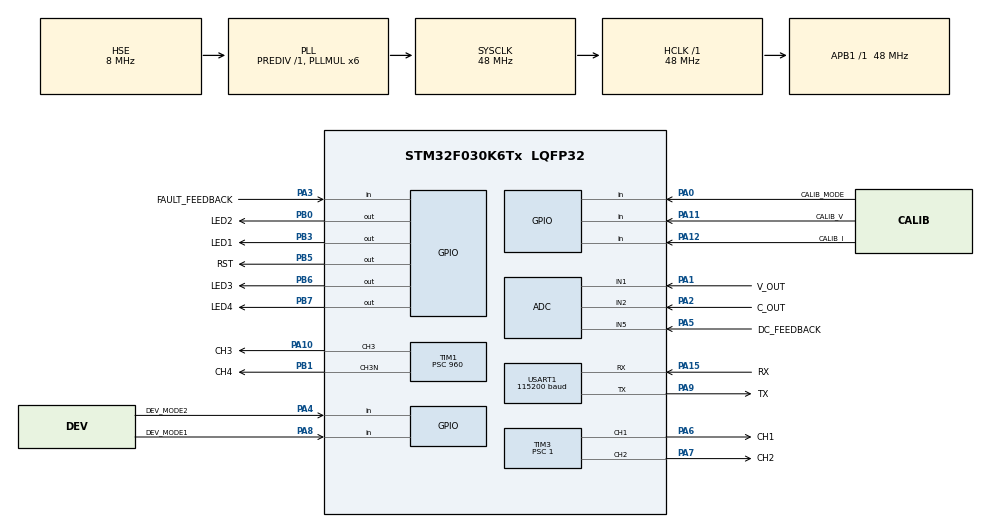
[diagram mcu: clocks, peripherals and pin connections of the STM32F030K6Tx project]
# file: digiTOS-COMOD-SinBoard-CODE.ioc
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ADC.ContinuousConvMode=ENABLE
ADC.DMAContinuousRequests=ENABLE
Dma.ADC.0.Direction=DMA_PERIPH_TO_MEMORY
Dma.ADC.0.Instance=DMA1_Channel2
Dma.ADC.0.MemDataAlignment=DMA_MDATAALIGN_HALFWORD
Dma.ADC.0.MemInc=DMA_MINC_ENABLE
Dma.ADC.0.Mode=DMA_CIRCULAR
Dma.ADC.0.PeriphDataAlignment=DMA_PDATAALIGN_HALFWORD
Dma.ADC.0.PeriphInc=DMA_PINC_DISABLE
Dma.ADC.0.Priority=DMA_PRIORITY_MEDIUM
Dma.Request0=ADC
Dma.Request1=USART1_RX
Dma.Request2=USART1_TX
Dma.USART1_RX.1.Direction=DMA_PERIPH_TO_MEMORY
Dma.USART1_RX.1.Instance=DMA1_Channel3
Dma.USART1_RX.1.MemDataAlignment=DMA_MDATAALIGN_BYTE
Dma.USART1_RX.1.MemInc=DMA_MINC_ENABLE
Dma.USART1_RX.1.Mode=DMA_NORMAL
Dma.USART1_RX.1.PeriphDataAlignment=DMA_PDATAALIGN_BYTE
Dma.USART1_RX.1.PeriphInc=DMA_PINC_DISABLE
Dma.USART1_RX.1.Priority=DMA_PRIORITY_LOW
Dma.USART1_TX.2.Direction=DMA_MEMORY_TO_PERIPH
Dma.USART1_TX.2.Instance=DMA1_Channel4
Dma.USART1_TX.2.MemDataAlignment=DMA_MDATAALIGN_BYTE
Dma.USART1_TX.2.MemInc=DMA_MINC_ENABLE
Dma.USART1_TX.2.Mode=DMA_NORMAL
Dma.USART1_TX.2.PeriphDataAlignment=DMA_PDATAALIGN_BYTE
Dma.USART1_TX.2.PeriphInc=DMA_PINC_DISABLE
Dma.USART1_TX.2.Priority=DMA_PRIORITY_LOW
IWDG.Prescaler=IWDG_PRESCALER_256
IWDG.Reload=4095
Mcu.Family=STM32F0
Mcu.Name=STM32F030K6Tx
Mcu.Package=LQFP32
NVIC.DMA1_Channel2_3_IRQn=true\:0\:0\:false\:true\:true\:2\:false
NVIC.DMA1_Channel4_5_IRQn=true\:0\:0\:false\:false\:true\:false
NVIC.FLASH_IRQn=true\:0\:0\:false\:true\:true\:4\:true
NVIC.RCC_IRQn=true\:0\:0\:false\:true\:true\:3\:true
NVIC.TIM14_IRQn=true\:0\:0\:true\:false\:true\:true
NVIC.TIM16_IRQn=true\:0\:0\:false\:false\:true\:true
NVIC.TIM1_BRK_UP_TRG_COM_IRQn=true\:0\:0\:false\:false\:true\:true
NVIC.TIM3_IRQn=true\:0\:0\:false\:false\:true\:true
NVIC.USART1_IRQn=true\:0\:0\:false\:false\:true\:true
PA0.GPIO_Label=CALIB_MODE
PA0.Signal=GPIO_Input
PA1.GPIO_Label=V_OUT
PA1.Mode=IN1
PA1.Signal=ADC_IN1
PA10.GPIO_FMA10=SYSCFG_CFGR1_I2C_FMP_PA10
PA10.GPIO_Label=CH3
PA10.GPIO_Speed=GPIO_SPEED_FREQ_HIGH
PA10.Signal=S_TIM1_CH3
PA11.GPIO_Label=CALIB_V
PA11.Signal=GPIO_Input
PA12.GPIO_Label=CALIB_I
PA12.Signal=GPIO_Input
PA13.Mode=Serial_Wire
PA13.Signal=SYS_SWDIO
PA14.Mode=Serial_Wire
PA14.Signal=SYS_SWCLK
PA15.GPIO_Label=RX
PA15.Mode=Asynchronous
PA15.Signal=USART1_RX
PA2.GPIO_Label=C_OUT
PA2.Mode=IN2
PA2.Signal=ADC_IN2
PA3.GPIO_Label=FAULT_FEEDBACK
PA3.Signal=GPIO_Input
PA4.GPIO_Label=DEV_MODE2
PA4.Signal=GPIO_Input
PA5.GPIO_Label=DC_FEEDBACK
PA5.Mode=IN5
PA5.Signal=ADC_IN5
PA6.GPIO_Label=CH1
PA6.GPIO_Speed=GPIO_SPEED_FREQ_HIGH
PA6.Signal=S_TIM3_CH1
PA7.GPIO_Label=CH2
PA7.GPIO_Speed=GPIO_SPEED_FREQ_HIGH
PA7.Signal=S_TIM3_CH2
PA8.GPIO_Label=DEV_MODE1
PA8.Signal=GPIO_Input
PA9.GPIO_Label=TX
PA9.Mode=Asynchronous
PA9.Signal=USART1_TX
PB0.GPIO_Label=LED2
PB0.GPIO_Speed=GPIO_SPEED_FREQ_HIGH
PB0.PinState=GPIO_PIN_SET
PB0.Signal=GPIO_Output
PB1.GPIO_Label=CH4
PB1.GPIO_Speed=GPIO_SPEED_FREQ_HIGH
PB1.Mode=Output Compare3 CH3 CH3N
PB1.Signal=TIM1_CH3N
PB3.GPIO_Label=LED1
PB3.GPIO_Speed=GPIO_SPEED_FREQ_HIGH
PB3.PinState=GPIO_PIN_SET
PB3.Signal=GPIO_Output
PB5.GPIO_Label=RST
PB5.GPIO_Speed=GPIO_SPEED_FREQ_HIGH
PB5.PinState=GPIO_PIN_SET
PB5.Signal=GPIO_Output
PB6.GPIO_FM6=SYSCFG_CFGR1_I2C_FMP_PB6
PB6.GPIO_Label=LED3
PB6.GPIO_Speed=GPIO_SPEED_FREQ_HIGH
PB6.PinState=GPIO_PIN_SET
PB6.Signal=GPIO_Output
PB7.GPIO_FM7=SYSCFG_CFGR1_I2C_FMP_PB7
PB7.GPIO_Label=LED4
PB7.GPIO_Speed=GPIO_SPEED_FREQ_HIGH
PB7.PinState=GPIO_PIN_SET
PB7.Signal=GPIO_Output
PF0-OSC_IN.GPIO_Label=PF0
PF0-OSC_IN.Mode=HSE-External-Oscillator
PF0-OSC_IN.Signal=RCC_OSC_IN
PF1-OSC_OUT.GPIO_Label=PF1
PF1-OSC_OUT.Mode=HSE-External-Oscillator
PF1-OSC_OUT.Signal=RCC_OSC_OUT
ProjectManager.HeapSize=0x200
ProjectManager.StackSize=0x400
ProjectManager.TargetToolchain=TrueSTUDIO
RCC.AHBFreq_Value=48000000
RCC.APB1Freq_Value=48000000
RCC.APB1TimFreq_Value=48000000
RCC.HCLKFreq_Value=48000000
RCC.PLLMUL=RCC_PLL_MUL6
RCC.PLLSourceVirtual=RCC_PLLSOURCE_HSE
RCC.SYSCLKFreq_VALUE=48000000
RCC.SYSCLKSource=RCC_SYSCLKSOURCE_PLLCLK
SH.S_TIM1_CH3.0=TIM1_CH3,Output Compare3 CH3 CH3N
SH.S_TIM3_CH1.0=TIM3_CH1,PWM Generation1 CH1
SH.S_TIM3_CH2.0=TIM3_CH2,PWM Generation2 CH2
TIM1.AutoReloadPreload=TIM_AUTORELOAD_PRELOAD_ENABLE
TIM1.Channel-Output\ Compare3\ CH3\ CH3N=TIM_CHANNEL_3
TIM1.Period=1000
TIM1.Prescaler=960
TIM1.TIM_MasterOutputTrigger=TIM_TRGO_RESET
TIM1.TIM_MasterSlaveMode=TIM_MASTERSLAVEMODE_DISABLE
TIM14.AutoReloadPreload=TIM_AUTORELOAD_PRELOAD_ENABLE
TIM14.Period=1000
TIM14.Prescaler=1
TIM16.AutoReloadPreload=TIM_AUTORELOAD_PRELOAD_ENABLE
TIM16.Period=1000
TIM16.Prescaler=47999
TIM3.AutoReloadPreload=TIM_AUTORELOAD_PRELOAD_ENABLE
TIM3.Channel-PWM\ Generation1\ CH1=TIM_CHANNEL_1
TIM3.Channel-PWM\ Generation2\ CH2=TIM_CHANNEL_2
TIM3.Period=1000
TIM3.Prescaler=1
USART1.BaudRate=115200
USART1.VirtualMode-Asynchronous=VM_ASYNC
VP_ADC_TempSens_Input.Mode=IN-TempSens
VP_CRC_VS_CRC.Mode=CRC_Activate
VP_IWDG_VS_IWDG.Mode=IWDG_Activate
VP_TIM14_VS_ClockSourceINT.Mode=Enable_Timer
VP_TIM16_VS_ClockSourceINT.Mode=Enable_Timer
VP_TIM1_VS_ClockSourceINT.Mode=Internal
VP_TIM3_VS_ClockSourceINT.Mode=Internal
board=custom

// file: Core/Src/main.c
/* USER CODE BEGIN Header */
/**
  ******************************************************************************
  * @file           : main.c
  * @brief          : Main program body
  ******************************************************************************
  ** This notice applies to any and all portions of this file
  * that are not between comment pairs USER CODE BEGIN and
  * USER CODE END. Other portions of this file, whether
  * inserted by the user or by software development tools
  * are owned by their respective copyright owners.
  *
  * COPYRIGHT(c) 2018 STMicroelectronics
  *
  * Redistribution and use in source and binary forms, with or without modification,
  * are permitted provided that the following conditions are met:
  *   1. Redistributions of source code must retain the above copyright notice,
  *      this list of conditions and the following disclaimer.
  *   2. Redistributions in binary form must reproduce the above copyright notice,
  *      this list of conditions and the following disclaimer in the documentation
  *      and/or other materials provided with the distribution.
  *   3. Neither the name of STMicroelectronics nor the names of its contributors
  *      may be used to endorse or promote products derived from this software
  *      without specific prior written permission.
  *
  * THIS SOFTWARE IS PROVIDED BY THE COPYRIGHT HOLDERS AND CONTRIBUTORS "AS IS"
  * AND ANY EXPRESS OR IMPLIED WARRANTIES, INCLUDING, BUT NOT LIMITED TO, THE
  * IMPLIED WARRANTIES OF MERCHANTABILITY AND FITNESS FOR A PARTICULAR PURPOSE ARE
  * DISCLAIMED. IN NO EVENT SHALL THE COPYRIGHT HOLDER OR CONTRIBUTORS BE LIABLE
  * FOR ANY DIRECT, INDIRECT, INCIDENTAL, SPECIAL, EXEMPLARY, OR CONSEQUENTIAL
  * DAMAGES (INCLUDING, BUT NOT LIMITED TO, PROCUREMENT OF SUBSTITUTE GOODS OR
  * SERVICES; LOSS OF USE, DATA, OR PROFITS; OR BUSINESS INTERRUPTION) HOWEVER
  * CAUSED AND ON ANY THEORY OF LIABILITY, WHETHER IN CONTRACT, STRICT LIABILITY,
  * OR TORT (INCLUDING NEGLIGENCE OR OTHERWISE) ARISING IN ANY WAY OUT OF THE USE
  * OF THIS SOFTWARE, EVEN IF ADVISED OF THE POSSIBILITY OF SUCH DAMAGE.
  *
  ******************************************************************************
  */
/* USER CODE END Header */

#include "main.h"
#include "adc.h"
#include "crc.h"
#include "dma.h"
#include "iwdg.h"
#include "tim.h"
#include "usart.h"
#include "gpio.h"

/* USER CODE BEGIN Includes */

#include "digiTOS-Lib/digiTOS-Generator.h"
#include "digiTOS-Lib/digiTOS-Core.h"
#include "digiTOS-Lib/digiTOS-Sinus.h"
#include "digiTOS-Lib/digiTOS-ADC.h"
#include <stdio.h>
#include <string.h>

/* USER CODE END Includes */

void SystemClock_Config(void);
static void MX_NVIC_Init(void);

int main(void)
{
  /* USER CODE BEGIN 1 */

		__HAL_RCC_DBGMCU_CLK_ENABLE();
	    DBGMCU->APB1FZ |= DBGMCU_APB1_FZ_DBG_WWDG_STOP;
	    DBGMCU->APB2FZ = 0xFFFFFFFF;
	    DBGMCU->APB1FZ = 0xFFFFFFFF;
	    DBGMCU->CR |=DBGMCU_CR_DBG_STOP;
	    __HAL_DBGMCU_FREEZE_IWDG();

  /* USER CODE END 1 */

  /* MCU Configuration--------------------------------------------------------*/

  /* Reset of all peripherals, Initializes the Flash interface and the Systick. */
  HAL_Init();

  /* Configure the system clock */
  SystemClock_Config();

  /* Initialize all configured peripherals */
  MX_GPIO_Init();
  MX_DMA_Init();
  MX_CRC_Init();
  MX_ADC_Init();
  MX_IWDG_Init();
  MX_TIM1_Init();
  MX_TIM14_Init();
  MX_USART1_UART_Init();
  MX_TIM3_Init();
  MX_TIM16_Init();

  /* Initialize interrupts */
  MX_NVIC_Init();
  /* USER CODE BEGIN 2 */

  // NEW IWDG
  DigiTOS_IWDG_Init(DigiTOS_IWDG_Timeout_16s);
  ResetWDG();

  //Init ADC, start DMA
  //and prepare all data
  StartADC();

  SinWave=swNOP;

  // Start generator and then stop to setup default GND level for transistor and dead times
  PWM_50Hz_Init();
  PWM_50Hz_ON();
  PWM_50Hz_OFF();

  PWM_Sinus_Init();
  PWM_Sinus_ON();
  PWM_Sinus_OFF();

  ResetWDG();

  HAL_GPIO_WritePin(LED1_GPIO_Port, LED1_Pin,GPIO_PIN_SET);
  HAL_GPIO_WritePin(LED2_GPIO_Port, LED2_Pin,GPIO_PIN_SET);
  HAL_GPIO_WritePin(LED3_GPIO_Port, LED3_Pin,GPIO_PIN_SET);
  HAL_GPIO_WritePin(LED4_GPIO_Port, LED4_Pin,GPIO_PIN_SET);

  HAL_TIM_Base_Start(&htim16);
  HAL_TIM_Base_Start_IT(&htim16);

  BoardStatus=sBoot;
  TIM16->ARR=sBoot_Delay;

  /* USER CODE END 2 */

  /* Infinite loop */
  /* USER CODE BEGIN WHILE */
  ResetWDG();

  buttonInit(&CALIB_V, CALIBV_GPIO_Port, CALIBV_Pin, GPIO_PIN_RESET, 4000, 10000);
  buttonInit(&CALIB_I, CALIBI_GPIO_Port, CALIBI_Pin, GPIO_PIN_RESET, 4000, 10000);
  buttonInit(&CALIB_MODE, CALIBMODE_GPIO_Port, CALIBMODE_Pin, GPIO_PIN_RESET, 30, 2000);

  buttonInit(&DevModeKey, DEV_MODE1_GPIO_Port, DEV_MODE1_Pin, GPIO_PIN_RESET, 30, 2000);
  buttonInit(&DevModeKey2, DEV_MODE2_GPIO_Port, DEV_MODE2_Pin, GPIO_PIN_RESET, 30, 1000);
  buttonInit(&FaultFlag, FAULT_FEEDBACK_GPIO_Port, FAULT_FEEDBACK_Pin, GPIO_PIN_RESET, 30, 1000);
  buttonUpdate(&DevModeKey);
  buttonUpdate(&DevModeKey2);
  buttonUpdate(&FaultFlag);
  buttonUpdate(&CALIB_V);
  buttonUpdate(&CALIB_I);
  buttonUpdate(&CALIB_MODE);

  HAL_Delay(500);

  // Init EEPROM and read data
             if (InitEEPROM()==0) {
           	  strcpy(uart_buff,"NO EEPROM\r\n");
           	  USE_DEF_CALIB();
           	  //EEPROM_DATA[0]=250;
           	  //StoreEEPROM(132,3636);
           	  SerialPrintln(1);
             } else {
          	  USE_NEW_CALIB();
           	  strcpy(uart_buff,"OK EEPROM\r\n");
           	  SerialPrintln(1);
             }

  Get_Version();
  SerialPrintln(1);

  Get_ChipID();
  SerialPrintln(1);

  Get_FlashSize();
  SerialPrintln(1);

  ClearUART_Buff();

  // Check for Calib Mode
  if(buttonUpdate(&CALIB_MODE) == isPressed){
	  strcpy(uart_buff,"CALIB MODE ENABLED\r\n");
	  SerialPrintln(1);
	  CalibMode=1;
  } else {
	  CalibMode=0;
  }

  buttonUpdate(&FaultFlag);
  if(buttonUpdate(&DevModeKey) == isPressed){
	strcpy(uart_buff,"DEV MODE - wait\r\n");
	SerialPrintln(1);
	ResetWDG();
    HAL_Delay(500);
	//if(buttonUpdate(&DevModeKey) == isPressedLong){
	if(buttonUpdate(&DevModeKey) == isPressed){
		//HAL_TIM_Base_Start_IT(&htim16);
		strcpy(uart_buff,"DEV MODE - confirmed\r\n");
	    SerialPrintln(1);
		DevMode1=1;
	}
  }

    strcpy(uart_buff,"Start Loop\r\n");
    SerialPrintln(1);

  	BoardStatus=sGEN;
  	TIM16->ARR=sDEF_Delay;

    //Start loop
      HAL_GPIO_WritePin(LED1_GPIO_Port, LED1_Pin,GPIO_PIN_RESET);
      HAL_GPIO_WritePin(LED2_GPIO_Port, LED2_Pin,GPIO_PIN_RESET);
      HAL_GPIO_WritePin(LED3_GPIO_Port, LED3_Pin,GPIO_PIN_RESET);
      HAL_GPIO_WritePin(LED4_GPIO_Port, LED4_Pin,GPIO_PIN_RESET);

      // Start PWM Sinus
      //SinWave=swStart;

       buttonUpdate(&FaultFlag);
       buttonUpdate(&DevModeKey2);
       HAL_Delay(500);
       if(buttonUpdate(&DevModeKey2) == isPressedLong){
    	   strcpy(uart_buff,"Start GENERATOR\r\n");
    	   SerialPrintln(1);
    	   //PWM_50Hz_ON();
    	   //PWM_Sinus_ON();
       }

       buttonUpdate(&FaultFlag);
       TIM14->PSC=SinResPSC;

       HAL_TIM_Base_Start(&htim14);
       HAL_TIM_Base_Start_IT(&htim14);

    while (1)
    {
    /* USER CODE END WHILE */

    /* USER CODE BEGIN 3 */
		if (UpdateAmp_FLAG==1) {
			UpdateAmp_FLAG=2;//busy Flag
			UpdateAmplitudeByV();
			UpdateAmp_FLAG=0; // clear Flag
		}
    }
  /* USER CODE END 3 */
}

void SystemClock_Config(void)
{
  RCC_OscInitTypeDef RCC_OscInitStruct = {0};
  RCC_ClkInitTypeDef RCC_ClkInitStruct = {0};
  RCC_PeriphCLKInitTypeDef PeriphClkInit = {0};

  /**Initializes the CPU, AHB and APB busses clocks
  */
  RCC_OscInitStruct.OscillatorType = RCC_OSCILLATORTYPE_HSI14|RCC_OSCILLATORTYPE_LSI
                              |RCC_OSCILLATORTYPE_HSE;
  RCC_OscInitStruct.HSEState = RCC_HSE_ON;
  RCC_OscInitStruct.HSI14State = RCC_HSI14_ON;
  RCC_OscInitStruct.HSI14CalibrationValue = 16;
  RCC_OscInitStruct.LSIState = RCC_LSI_ON;
  RCC_OscInitStruct.PLL.PLLState = RCC_PLL_ON;
  RCC_OscInitStruct.PLL.PLLSource = RCC_PLLSOURCE_HSE;
  RCC_OscInitStruct.PLL.PLLMUL = RCC_PLL_MUL6;
  RCC_OscInitStruct.PLL.PREDIV = RCC_PREDIV_DIV1;
  if (HAL_RCC_OscConfig(&RCC_OscInitStruct) != HAL_OK)
  {
    Error_Handler();
  }
  /**Initializes the CPU, AHB and APB busses clocks
  */
  RCC_ClkInitStruct.ClockType = RCC_CLOCKTYPE_HCLK|RCC_CLOCKTYPE_SYSCLK
                              |RCC_CLOCKTYPE_PCLK1;
  RCC_ClkInitStruct.SYSCLKSource = RCC_SYSCLKSOURCE_PLLCLK;
  RCC_ClkInitStruct.AHBCLKDivider = RCC_SYSCLK_DIV1;
  RCC_ClkInitStruct.APB1CLKDivider = RCC_HCLK_DIV1;

  if (HAL_RCC_ClockConfig(&RCC_ClkInitStruct, FLASH_LATENCY_1) != HAL_OK)
  {
    Error_Handler();
  }
  PeriphClkInit.PeriphClockSelection = RCC_PERIPHCLK_USART1;
  PeriphClkInit.Usart1ClockSelection = RCC_USART1CLKSOURCE_PCLK1;
  if (HAL_RCCEx_PeriphCLKConfig(&PeriphClkInit) != HAL_OK)
  {
    Error_Handler();
  }
}

/**
  * @brief NVIC Configuration.
  * @retval None
  */
static void MX_NVIC_Init(void)
{
  /* DMA1_Channel2_3_IRQn interrupt configuration */
  HAL_NVIC_SetPriority(DMA1_Channel2_3_IRQn, 0, 0);
  HAL_NVIC_EnableIRQ(DMA1_Channel2_3_IRQn);
  /* RCC_IRQn interrupt configuration */
  HAL_NVIC_SetPriority(RCC_IRQn, 0, 0);
  HAL_NVIC_EnableIRQ(RCC_IRQn);
  /* FLASH_IRQn interrupt configuration */
  HAL_NVIC_SetPriority(FLASH_IRQn, 0, 0);
  HAL_NVIC_EnableIRQ(FLASH_IRQn);
}

void Error_Handler(void)
{
}

/************************ (C) COPYRIGHT STMicroelectronics *****END OF FILE****/
